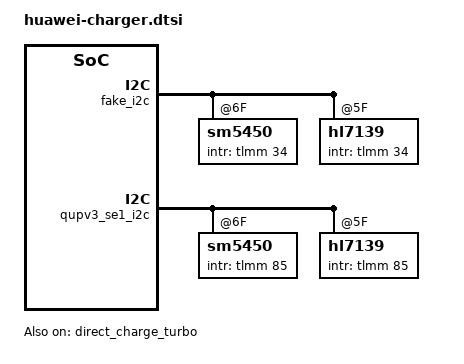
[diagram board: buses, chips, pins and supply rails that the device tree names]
&huawei_batt_info {
    shield_ct_sign = <1>;
};

&fake_i2c {
	sm5450@6F{
		pinctrl-0 = <&sm5450_main_irq_pins_default>;
		intr_gpio_num = <34>; /* direct defined GPIO num */
		intr_gpio = <&tlmm 34 0>;
		fcp_support = <0>;
		scp_support = <0>;
		ic_role = <1>;
	};

	hl7139@5F {
		pinctrl-0 = <&sm5450_main_irq_pins_default>;
		intr_gpio_num = <34>; /* direct defined GPIO num */
		intr_gpio = <&tlmm 34 0>;
		fcp_support = <0>;
		scp_support = <0>;
		ic_role = <1>;
		switching_frequency = <900>;
	};
};

&qupv3_se1_i2c {
	sm5450@6F{
		pinctrl-0 = <&sm5450_irq_pins_default>;
		intr_gpio_num = <85>; /* direct defined GPIO num */
		intr_gpio = <&tlmm 85 0>;
		fcp_support = <1>;
		scp_support = <1>;
		ic_role = <0>;
	};

	hl7139@5F {
		pinctrl-0 = <&sm5450_irq_pins_default>;
		intr_gpio_num = <85>; /* direct defined GPIO num */
		intr_gpio = <&tlmm 85 0>;
		fcp_support = <1>;
		scp_support = <1>;
		ic_role = <0>;
		switching_frequency = <900>;
	};
};

&direct_charger_sc {
	volt_para =
		"4150", "9000", "6800",
		"4250", "6800", "5400",
		"4300", "5400", "4750",
		"4480", "4750", "3200",
		"4510", "3200", "630";
	volt_para1 =
		"4150", "12320", "11300",
		"4200", "11300", "8800",
		"4300", "8800", "7000",
		"4480", "7000", "4800",
		"4510", "4800", "1050";
	volt_para2 =
		"4150", "12320", "11300",
		"4200", "11300", "8800",
		"4300", "8800", "7000",
		"4480", "7000", "4800",
		"4510", "4800", "1370";
	time_para =
		"660", "6900",
		"420", "7800",
		"300", "9200",
		"120", "10500",
		"0", "12320";
	bat_para =
		"default", "10", "20", "volt_para",
		"default", "20", "35", "volt_para1",
		"default", "35", "45", "volt_para2",
		"CAE", "10", "20", "volt_para",
		"CAE", "20", "35", "volt_para1",
		"CAE", "35", "45", "volt_para2",
		"CGL", "10", "20", "volt_para",
		"CGL", "20", "35", "volt_para1",
		"CGL", "35", "45", "volt_para2",
		"CDE", "10", "20", "volt_para",
                "CDE", "20", "35", "volt_para1",
                "CDE", "35", "45", "volt_para2";
	current_ratio =
		"3", "4", "10", "2", "-1",
		"3", "4", "9", "1", "8000",
		"0", "4", "9", "0", "0";
	vbat_error =
		"3", "120", "2", "-1",
		"3", "80", "1", "0";
	temp_para =
		"-32767", "10", "0",
		"10", "46", "12800",
		"46", "32767", "0";
	resist_para =
		"0", "260", "6000",
		"260", "450", "4000";
	std_resist_para =
		"0", "300", "0",
		"300", "450", "8000";
	second_resist_para =
		"0", "250", "0",
		"250", "450", "8000";
};

&direct_charge_turbo {
	status = "ok";
	time_para =
		"600", "9000",
		"350", "10500",
		"160", "11000",
		"0", "12000";
};
